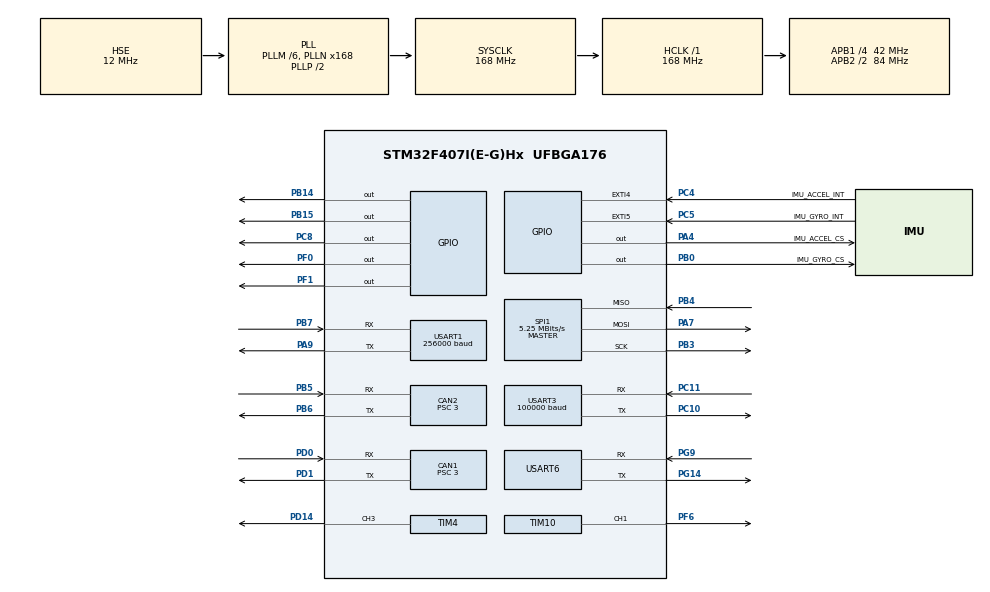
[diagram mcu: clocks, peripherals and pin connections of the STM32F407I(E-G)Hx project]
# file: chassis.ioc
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CAN1.BS1=CAN_BS1_6TQ
CAN1.BS2=CAN_BS2_7TQ
CAN1.CalculateBaudRate=1000000
CAN1.CalculateTimeBit=1000
CAN1.CalculateTimeQuantum=71.42857142857143
CAN1.NART=ENABLE
CAN1.Prescaler=3
CAN1.TXFP=ENABLE
CAN2.BS1=CAN_BS1_6TQ
CAN2.BS2=CAN_BS2_7TQ
CAN2.CalculateBaudRate=1000000
CAN2.CalculateTimeBit=1000
CAN2.CalculateTimeQuantum=71.42857142857143
CAN2.NART=ENABLE
CAN2.Prescaler=3
CAN2.RFLM=DISABLE
CAN2.TXFP=ENABLE
Dma.Request0=USART3_RX
Dma.Request1=USART6_RX
Dma.Request2=USART6_TX
Dma.Request3=USART1_TX
Dma.USART1_TX.3.Direction=DMA_MEMORY_TO_PERIPH
Dma.USART1_TX.3.FIFOMode=DMA_FIFOMODE_DISABLE
Dma.USART1_TX.3.Instance=DMA2_Stream7
Dma.USART1_TX.3.MemDataAlignment=DMA_MDATAALIGN_BYTE
Dma.USART1_TX.3.MemInc=DMA_MINC_ENABLE
Dma.USART1_TX.3.Mode=DMA_NORMAL
Dma.USART1_TX.3.PeriphDataAlignment=DMA_PDATAALIGN_BYTE
Dma.USART1_TX.3.PeriphInc=DMA_PINC_DISABLE
Dma.USART1_TX.3.Priority=DMA_PRIORITY_HIGH
Dma.USART3_RX.0.Direction=DMA_PERIPH_TO_MEMORY
Dma.USART3_RX.0.FIFOMode=DMA_FIFOMODE_DISABLE
Dma.USART3_RX.0.Instance=DMA1_Stream1
Dma.USART3_RX.0.MemDataAlignment=DMA_MDATAALIGN_BYTE
Dma.USART3_RX.0.MemInc=DMA_MINC_ENABLE
Dma.USART3_RX.0.Mode=DMA_CIRCULAR
Dma.USART3_RX.0.PeriphDataAlignment=DMA_PDATAALIGN_BYTE
Dma.USART3_RX.0.PeriphInc=DMA_PINC_DISABLE
Dma.USART3_RX.0.Priority=DMA_PRIORITY_VERY_HIGH
Dma.USART6_RX.1.Direction=DMA_PERIPH_TO_MEMORY
Dma.USART6_RX.1.FIFOMode=DMA_FIFOMODE_DISABLE
Dma.USART6_RX.1.Instance=DMA2_Stream1
Dma.USART6_RX.1.MemDataAlignment=DMA_MDATAALIGN_BYTE
Dma.USART6_RX.1.MemInc=DMA_MINC_ENABLE
Dma.USART6_RX.1.Mode=DMA_NORMAL
Dma.USART6_RX.1.PeriphDataAlignment=DMA_PDATAALIGN_BYTE
Dma.USART6_RX.1.PeriphInc=DMA_PINC_DISABLE
Dma.USART6_RX.1.Priority=DMA_PRIORITY_VERY_HIGH
Dma.USART6_TX.2.Direction=DMA_MEMORY_TO_PERIPH
Dma.USART6_TX.2.FIFOMode=DMA_FIFOMODE_DISABLE
Dma.USART6_TX.2.Instance=DMA2_Stream6
Dma.USART6_TX.2.MemDataAlignment=DMA_MDATAALIGN_BYTE
Dma.USART6_TX.2.MemInc=DMA_MINC_ENABLE
Dma.USART6_TX.2.Mode=DMA_NORMAL
Dma.USART6_TX.2.PeriphDataAlignment=DMA_PDATAALIGN_BYTE
Dma.USART6_TX.2.PeriphInc=DMA_PINC_DISABLE
Dma.USART6_TX.2.Priority=DMA_PRIORITY_VERY_HIGH
IWDG.Prescaler=IWDG_PRESCALER_64
IWDG.Reload=400
Mcu.Family=STM32F4
Mcu.Name=STM32F407I(E-G)Hx
Mcu.Package=UFBGA176
NVIC.CAN1_RX0_IRQn=true\:1\:0\:true\:false\:true\:true\:true\:true
NVIC.CAN2_RX1_IRQn=true\:1\:0\:true\:false\:true\:true\:true\:true
NVIC.DMA1_Stream1_IRQn=true\:0\:0\:false\:false\:true\:false\:true\:true
NVIC.DMA2_Stream1_IRQn=true\:0\:0\:false\:false\:true\:false\:true\:true
NVIC.DMA2_Stream6_IRQn=true\:0\:0\:false\:false\:true\:false\:true\:true
NVIC.DMA2_Stream7_IRQn=true\:0\:0\:false\:false\:true\:false\:true\:true
NVIC.PriorityGroup=NVIC_PRIORITYGROUP_4
NVIC.TIM6_DAC_IRQn=true\:2\:0\:true\:false\:true\:true\:true\:true
NVIC.USART3_IRQn=true\:0\:0\:false\:false\:true\:true\:true\:true
NVIC.USART6_IRQn=true\:0\:0\:false\:false\:true\:true\:true\:true
PA13.Mode=Serial_Wire
PA13.Signal=SYS_JTMS-SWDIO
PA14.Mode=Serial_Wire
PA14.Signal=SYS_JTCK-SWCLK
PA4.GPIO_Label=IMU_ACCEL_CS
PA4.GPIO_Speed=GPIO_SPEED_FREQ_VERY_HIGH
PA4.PinState=GPIO_PIN_SET
PA4.Signal=GPIO_Output
PA7.Mode=Full_Duplex_Master
PA7.Signal=SPI1_MOSI
PA9.Mode=Asynchronous
PA9.Signal=USART1_TX
PB0.GPIO_Label=IMU_GYRO_CS
PB0.GPIO_Speed=GPIO_SPEED_FREQ_VERY_HIGH
PB0.PinState=GPIO_PIN_SET
PB0.Signal=GPIO_Output
PB14.GPIO_Speed=GPIO_SPEED_FREQ_VERY_HIGH
PB14.PinState=GPIO_PIN_SET
PB14.Signal=GPIO_Output
PB15.GPIO_Speed=GPIO_SPEED_FREQ_VERY_HIGH
PB15.PinState=GPIO_PIN_SET
PB15.Signal=GPIO_Output
PB3.Mode=Full_Duplex_Master
PB3.Signal=SPI1_SCK
PB4.Mode=Full_Duplex_Master
PB4.Signal=SPI1_MISO
PB5.Mode=CAN_Activate
PB5.Signal=CAN2_RX
PB6.Mode=CAN_Activate
PB6.Signal=CAN2_TX
PB7.Mode=Asynchronous
PB7.Signal=USART1_RX
PC10.Mode=Asynchronous
PC10.Signal=USART3_TX
PC11.Mode=Asynchronous
PC11.Signal=USART3_RX
PC8.PinState=GPIO_PIN_RESET
PC8.Signal=GPIO_Output
PD0.Mode=CAN_Activate
PD0.Signal=CAN1_RX
PD1.Mode=CAN_Activate
PD1.Signal=CAN1_TX
PD14.Signal=S_TIM4_CH3
PF0.GPIO_Speed=GPIO_SPEED_FREQ_VERY_HIGH
PF0.PinState=GPIO_PIN_SET
PF0.Signal=GPIO_Output
PF1.GPIO_Speed=GPIO_SPEED_FREQ_VERY_HIGH
PF1.PinState=GPIO_PIN_SET
PF1.Signal=GPIO_Output
PF6.Signal=S_TIM10_CH1
PG14.Mode=Asynchronous
PG14.Signal=USART6_TX
PG9.Mode=Asynchronous
PG9.Signal=USART6_RX
PH0-OSC_IN.Mode=HSE-External-Oscillator
PH0-OSC_IN.Signal=RCC_OSC_IN
PH1-OSC_OUT.Mode=HSE-External-Oscillator
PH1-OSC_OUT.Signal=RCC_OSC_OUT
ProjectManager.HeapSize=0x200
ProjectManager.StackSize=0x400
ProjectManager.TargetToolchain=CMake
RCC.48MHZClocksFreq_Value=84000000
RCC.AHBFreq_Value=168000000
RCC.APB1CLKDivider=RCC_HCLK_DIV4
RCC.APB1Freq_Value=42000000
RCC.APB1TimFreq_Value=84000000
RCC.APB2CLKDivider=RCC_HCLK_DIV2
RCC.APB2Freq_Value=84000000
RCC.APB2TimFreq_Value=168000000
RCC.CortexFreq_Value=168000000
RCC.HCLKFreq_Value=168000000
RCC.HSE_VALUE=12000000
RCC.HSI_VALUE=16000000
RCC.LSE_VALUE=32768
RCC.PLLM=6
RCC.PLLN=168
RCC.PLLSourceVirtual=RCC_PLLSOURCE_HSE
RCC.SYSCLKFreq_VALUE=168000000
RCC.SYSCLKSource=RCC_SYSCLKSOURCE_PLLCLK
RCC.VCOOutputFreq_Value=336000000
SH.S_TIM10_CH1.0=TIM10_CH1,PWM Generation1 CH1
SH.S_TIM4_CH3.0=TIM4_CH3,PWM Generation3 CH3
SPI1.BaudRatePrescaler=SPI_BAUDRATEPRESCALER_16
SPI1.CLKPhase=SPI_PHASE_2EDGE
SPI1.CLKPolarity=SPI_POLARITY_HIGH
SPI1.CalculateBaudRate=5.25 MBits/s
SPI1.Direction=SPI_DIRECTION_2LINES
SPI1.Mode=SPI_MODE_MASTER
SPI1.VirtualType=VM_MASTER
TIM10.Channel=TIM_CHANNEL_1
TIM10.Prescaler=167
TIM10.Period=999
TIM4.Channel-PWM\ Generation3\ CH3=TIM_CHANNEL_3
TIM4.Period=0
TIM4.Prescaler=84-1
TIM6.Period=1000-1
TIM6.Prescaler=84-1
USART1.BaudRate=256000
USART1.VirtualMode=VM_ASYNC
USART3.BaudRate=100000
USART3.Mode=MODE_RX
USART3.Parity=PARITY_EVEN
USART3.VirtualMode=VM_ASYNC
USART3.WordLength=WORDLENGTH_9B
USART6.VirtualMode=VM_ASYNC
VP_IWDG_VS_IWDG.Mode=IWDG_Activate
VP_TIM10_VS_ClockSourceINT.Mode=Enable_Timer
VP_TIM4_VS_ClockSourceINT.Mode=Internal
VP_TIM6_VS_ClockSourceINT.Mode=Enable_Timer
board=custom
PC4.GPIO_Label=IMU_ACCEL_INT
PC4.GPIO_ModeDefaultEXTI=GPIO_MODE_IT_RISING
PC4.Signal=GPXTI4
PC5.GPIO_Label=IMU_GYRO_INT
PC5.GPIO_ModeDefaultEXTI=GPIO_MODE_IT_RISING
PC5.Signal=GPXTI5
NVIC.EXTI4_IRQn=true\:3\:0\:true\:false\:true\:true\:true\:true
NVIC.EXTI9_5_IRQn=true\:3\:0\:true\:false\:true\:true\:true\:true

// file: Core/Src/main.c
/* USER CODE BEGIN Header */
/**
  ******************************************************************************
  * @file           : main.c
  * @brief          : Main program body
  ******************************************************************************
  * @attention
  *
  * Copyright (c) 2026 STMicroelectronics.
  * All rights reserved.
  *
  * This software is licensed under terms that can be found in the LICENSE file
  * in the root directory of this software component.
  * If no LICENSE file comes with this software, it is provided AS-IS.
  *
  ******************************************************************************
  */
/* USER CODE END Header */
#include "main.h"
#include "can.h"
#include "dma.h"
#include "iwdg.h"
#include "spi.h"
#include "tim.h"
#include "usart.h"
#include "gpio.h"

/* USER CODE BEGIN Includes */
#include "board_link.h"
#include "board_link_setup.h"
#include "motion_math.h"
#include "command.h"
#include "chassis_control.h"
#include "chassis_setup.h"
#include "safety_gate.h"
#include "m3508_can.h"
#include "dr16.h"
#include "bmi088.h"
#include <math.h>
#include <string.h>
/* USER CODE END Includes */

/* USER CODE BEGIN PV */
volatile HAL_StatusTypeDef board_link_tx_status = HAL_ERROR;
static uint8_t board_link_sequence;
/* Gimbal status receiver (0x310..0x312). Last value is visible in the debugger. */
static LinkReceiver status_rx;
volatile bool board_link_rx_configured;
volatile uint32_t board_status_count;
volatile float board_relative_yaw;
static float board_yaw_last;
static bool board_yaw_initialized;
/* Visible in the debugger. HAL_OK only means the frame was queued. */
volatile HAL_StatusTypeDef motor_can_tx_status = HAL_OK;
volatile HAL_StatusTypeDef remote_rx_status = HAL_OK;
volatile bool remote_online = false;
DR16_State remote_state;
/* Debugger snapshot. arm is the operator's request, not motor enable. */
volatile RobotCommand remote_command = {.estop = true};
volatile bool chassis_configured;
volatile SafetyState chassis_safety_state;
volatile uint8_t chassis_wheel_fresh_mask;
volatile ChassisOutput chassis_output;
static ChassisControl chassis_control;
static SafetyGate chassis_gate;
volatile uint32_t rr_direct_request;
volatile bool rr_direct_active;
volatile int16_t rr_direct_peak_rpm;
volatile uint32_t rr_direct_pulse_count;
#if CHASSIS_RR_BENCH
static PID_Controller rr_bench_pid;
volatile float rr_bench_kp = 2.0f;
volatile float rr_bench_ki = 0.0f;
volatile float rr_bench_kd = 0.0f;
volatile float rr_bench_measured_rpm;
volatile bool rr_bench_gains_valid;
#endif
static const RemoteMap remote_map = {
  .channel = {3, 2, 0, 1},
  .direction = {1, -1, -1, 1},
  .deadzone = 0.05f,
  .separate_switch = DR16_SWITCH_UP,
  .follow_switch = DR16_SWITCH_MIDDLE,
  .spin_switch = DR16_SWITCH_DOWN,
  .enable_switch = DR16_SWITCH_UP,
  .disarm_switch = DR16_SWITCH_MIDDLE,
  .stop_switch = DR16_SWITCH_DOWN
};
volatile HAL_StatusTypeDef imu_init_status = HAL_ERROR;
volatile bool imu_online = false;
BMI088_Sample imu_sample;
BMI088_GyroCalibration imu_calibration;
/* USER CODE END PV */

void SystemClock_Config(void);

/* USER CODE BEGIN 0 */
/* CAN1 is the board link: this board transmits commands 0x300..0x302 and
 * receives gimbal status 0x310..0x312 on FIFO0. */
static HAL_StatusTypeDef StartBoardLink(void)
{
  const CAN_FilterTypeDef status_filter = {
    .FilterBank = 0,
    .FilterMode = CAN_FILTERMODE_IDLIST,
    .FilterScale = CAN_FILTERSCALE_16BIT,
    .FilterIdHigh = 0x310U << 5,
    .FilterIdLow = 0x311U << 5,
    .FilterMaskIdHigh = 0x312U << 5,
    .FilterMaskIdLow = 0x312U << 5,
    .FilterFIFOAssignment = CAN_FILTER_FIFO0,
    .FilterActivation = ENABLE,
    .SlaveStartFilterBank = 14
  };
  HAL_StatusTypeDef status = HAL_CAN_ConfigFilter(&hcan1, &status_filter);
  if (status != HAL_OK) return status;
  status = HAL_CAN_Start(&hcan1);
  if (status != HAL_OK) return status;
  status = HAL_CAN_ActivateNotification(&hcan1, CAN_IT_RX_FIFO0_MSG_PENDING);
  if (status != HAL_OK) (void)HAL_CAN_Stop(&hcan1);
  return status;
}

static bool BoardStatus(uint32_t now, LinkStatus *out)
{
  if (!out) return false;
  const uint32_t primask = __get_PRIMASK();
  __disable_irq();
  const bool fresh = Link_IsFresh(&status_rx, now);
  if (fresh) *out = status_rx.message.status;
  __set_PRIMASK(primask);
  return fresh;
}

/* Joint angle from the gimbal, in the chassis frame. Rejects uncalibrated,
 * faulted and non-finite values, plus steps no physical yaw move can make. */
static bool BoardYaw(const LinkStatus *status, float *relative_yaw)
{
  if (!status || !relative_yaw || !status->calibrated || status->fault ||
      !isfinite(status->yaw_joint)) return false;
  const float yaw = status->yaw_joint;
  if (board_yaw_initialized &&
      fabsf(Motion_Wrap(yaw - board_yaw_last)) > CHASSIS_YAW_JUMP_RAD) {
    board_yaw_initialized = false;
    return false;
  }
  board_yaw_last = yaw;
  board_yaw_initialized = true;
  *relative_yaw = yaw;
  return true;
}

static void SendBoardCommand(const RobotCommand *command)
{
  LinkFrame frames[3];
  /* CAN1 belongs to this sender. Drop/abort a stale batch instead of queuing
   * old control commands behind a disconnected bus. */
  if (HAL_CAN_GetTxMailboxesFreeLevel(&hcan1) != 3U) {
    (void)HAL_CAN_AbortTxRequest(&hcan1, CAN_TX_MAILBOX0 | CAN_TX_MAILBOX1 | CAN_TX_MAILBOX2);
    board_link_tx_status = HAL_BUSY;
    return;
  }
  if (!Link_EncodeCommand(command, board_link_sequence++, frames)) return;
  for (unsigned i = 0; i < 3; ++i) {
    CAN_TxHeaderTypeDef header = {.StdId = frames[i].id, .IDE = CAN_ID_STD,
                                .RTR = CAN_RTR_DATA, .DLC = 8};
    uint32_t mailbox;
    board_link_tx_status = HAL_CAN_AddTxMessage(&hcan1, &header, frames[i].data, &mailbox);
    if (board_link_tx_status != HAL_OK) {
      (void)HAL_CAN_AbortTxRequest(&hcan1, CAN_TX_MAILBOX0 | CAN_TX_MAILBOX1 | CAN_TX_MAILBOX2);
      break;
    }
  }
}

static bool InitChassisControl(void)
{
  ChassisConfig config = {
    .geometry = MECANUM_DEFAULT_CONFIG,
    .max_translation = CHASSIS_TRANSLATION_LIMIT_MPS,
    .max_rotation = CHASSIS_MAX_ROTATION_RAD_S,
    .spin_rate = CHASSIS_SPIN_RATE_RAD_S, .follow_kp = CHASSIS_FOLLOW_KP,
    .spin_max_motor_rpm = CHASSIS_SPIN_MAX_ROTOR_RPM,
    .translation_accel = CHASSIS_TRANSLATION_ACCEL_MPS2,
    .rotation_accel = 1.0f,
    .follow_rotation_accel = CHASSIS_FOLLOW_ROTATION_ACCEL_RAD_S2,
    .max_dt = 0.025f
  };
  const int8_t direction[M3508_COUNT] = CHASSIS_WHEEL_DIRECTIONS;
  config.geometry.max_motor_rpm = CHASSIS_MAX_ROTOR_RPM;
  for (unsigned i = 0; i < M3508_COUNT; ++i)
  {
    config.geometry.motor_direction[i] = direction[i];
    config.wheel_pid[i] = (PID_Config){
      .kp = CHASSIS_SPEED_KP, .ki = CHASSIS_SPEED_KI,
      .output_limit = CHASSIS_CURRENT_LIMIT_RAW,
      .integral_limit = CHASSIS_SPEED_INTEGRAL_LIMIT_RAW,
      .max_dt = config.max_dt
    };
  }
  return CHASSIS_SPEED_KP > 0.0f && Chassis_Init(&chassis_control, &config);
}

static void ServiceRightRearPulse(bool fresh, float rpm)
{
  enum { pulse_ms = 300, pulse_current = -410 };
  static uint32_t started_ms;
  const uint32_t now = HAL_GetTick();
  const bool debugger_attached = (CoreDebug->DHCSR & CoreDebug_DHCSR_C_DEBUGEN_Msk) != 0U;
  const uint32_t request = rr_direct_request;
  if (request != 0U)
  {
    rr_direct_request = 0U;
    if (request == 1U && !rr_direct_active && fresh && debugger_attached &&
        rpm >= -5.0f && rpm <= 5.0f)
    {
      started_ms = now;
      rr_direct_peak_rpm = 0;
      rr_direct_active = true;
      ++rr_direct_pulse_count;
    }
  }
  const bool was_active = rr_direct_active;
  if (!fresh || !debugger_attached || request == 2U || now - started_ms >= pulse_ms)
    rr_direct_active = false;
  if (rr_direct_active)
  {
    const int16_t peak = rr_direct_peak_rpm;
    const int16_t sample = (int16_t)rpm;
    if ((int32_t)sample * sample > (int32_t)peak * peak)
      rr_direct_peak_rpm = sample;
  }

  ChassisOutput output = {0};
  if (rr_direct_active)
    output.current[MECANUM_RR] = pulse_current;
  if (was_active && !rr_direct_active)
    (void)HAL_CAN_AbortTxRequest(&hcan2, CAN_TX_MAILBOX0 | CAN_TX_MAILBOX1 | CAN_TX_MAILBOX2);
  motor_can_tx_status = M3508_CAN_SendCurrents(output.current);
  if (rr_direct_active && motor_can_tx_status != HAL_OK)
  {
    rr_direct_active = false;
    output.current[MECANUM_RR] = 0;
    (void)HAL_CAN_AbortTxRequest(&hcan2, CAN_TX_MAILBOX0 | CAN_TX_MAILBOX1 | CAN_TX_MAILBOX2);
    (void)M3508_CAN_SendCurrents(output.current);
  }
  chassis_output = output;
  chassis_safety_state = rr_direct_active ? SAFETY_ACTIVE : SAFETY_DISARMED;
  (void)HAL_IWDG_Refresh(&hiwdg);
}

static void ServiceChassisDrive(const RobotCommand *command, float dt)
{
  float rpm[M3508_COUNT] = {0};
  bool fresh[M3508_COUNT] = {false};
  uint8_t mask = 0;
  for (unsigned i = 0; i < M3508_COUNT; ++i)
  {
    M3508_Feedback wheel;
    if (M3508_CAN_GetFeedback((uint8_t)(i + 1), &wheel))
    {
      rpm[i] = wheel.speed_rpm;
      fresh[i] = (uint32_t)(HAL_GetTick() - wheel.last_rx_ms) < 50U;
      if (fresh[i]) mask |= (uint8_t)(1U << i);
    }
  }
  chassis_wheel_fresh_mask = mask;
  if (CHASSIS_RR_DIRECT_TEST)
  {
    ServiceRightRearPulse(fresh[MECANUM_RR], rpm[MECANUM_RR]);
    return;
  }
#if CHASSIS_RR_BENCH
  enum { rr = MECANUM_RR };
  rr_bench_measured_rpm = rpm[rr];
  /* Apply debugger edits only on a valid, neutral standby command. */
  if (command->remote_valid && !command->arm && !command->estop &&
      Command_Neutral(command, 0.02f))
  {
    const PID_Config gains = {
      .kp = rr_bench_kp, .ki = rr_bench_ki, .kd = rr_bench_kd,
      .output_limit = CHASSIS_RR_BENCH_CURRENT_RAW, .integral_limit = 100.0f,
      .derivative_tau = 0.04f, .max_dt = 0.025f
    };
    rr_bench_gains_valid = PID_Init(&rr_bench_pid, &gains);
  }
#endif
  /* Relative yaw comes from the gimbal status frame. Follow additionally
   * needs a world-stabilized gimbal yaw; with joint-only yaw control the
   * chassis would rotate until max_rotation and never converge. */
  const uint32_t now = HAL_GetTick();
  if (chassis_gate.state != SAFETY_ACTIVE) board_yaw_initialized = false;
  LinkStatus status;
  const bool status_ok = BoardStatus(now, &status);
  float relative_yaw = 0.0f;
  const bool yaw_ok = status_ok && BoardYaw(&status, &relative_yaw);
  board_relative_yaw = yaw_ok ? relative_yaw : 0.0f;
  SafetyInputs safety = {
    .link_fresh = command->remote_valid,
    /* Every mode needs calibrated relative yaw for gimbal-frame translation.
     * The upper board reports a fault if follow/spin world feedback is unavailable. */
    .sensors_fresh = status_ok && yaw_ok,
    .motors_healthy =
#if CHASSIS_RR_BENCH
      fresh[rr],
#else
      mask == (1U << M3508_COUNT) - 1U,
#endif
    .calibrated = true,
    .hardware_configured =
#if CHASSIS_RR_BENCH
      rr_bench_gains_valid
#else
      chassis_configured
#endif
  };
  const bool was_active = chassis_gate.state == SAFETY_ACTIVE;
  const bool allowed = Safety_Step(&chassis_gate, command, &safety);
#if CHASSIS_RR_BENCH
  ChassisOutput output = {0};
  if (allowed && command->forward != 0.0f)
  {
    const int8_t direction[M3508_COUNT] = CHASSIS_WHEEL_DIRECTIONS;
    const float target = direction[rr] * command->forward * CHASSIS_RR_BENCH_RPM;
    float current;
    if (PID_Update(&rr_bench_pid, target, rpm[rr], dt, &current))
    {
      output.wheels.motor_rpm[rr] = target;
      output.current[rr] = (int16_t)current;
    }
    else
      chassis_gate = (SafetyGate){.state = SAFETY_FAULT};
  }
  else
    PID_Reset(&rr_bench_pid);
#else
  ChassisOutput output;
  if (command->forward == 0.0f && command->left == 0.0f)
  {
    chassis_control.previous.vx = 0.0f;
    chassis_control.previous.vy = 0.0f;
  }
  if (!Chassis_Step(&chassis_control, command, yaw_ok ? relative_yaw : 0.0f,
                    rpm, fresh, allowed, dt, &output) && allowed)
    chassis_gate = (SafetyGate){.state = SAFETY_FAULT};
#endif

  bool cancel_pending = was_active && chassis_gate.state != SAFETY_ACTIVE;
#if CHASSIS_RR_BENCH
  cancel_pending |= command->forward == 0.0f && chassis_output.current[rr] != 0;
#endif
  if (cancel_pending)
    (void)HAL_CAN_AbortTxRequest(&hcan2, CAN_TX_MAILBOX0 | CAN_TX_MAILBOX1 | CAN_TX_MAILBOX2);
  motor_can_tx_status = M3508_CAN_SendCurrents(output.current);
  if (chassis_gate.state == SAFETY_ACTIVE && motor_can_tx_status != HAL_OK)
  {
    chassis_gate = (SafetyGate){.state = SAFETY_FAULT};
    Chassis_Reset(&chassis_control);
#if CHASSIS_RR_BENCH
    PID_Reset(&rr_bench_pid);
#endif
    (void)HAL_CAN_AbortTxRequest(&hcan2, CAN_TX_MAILBOX0 | CAN_TX_MAILBOX1 | CAN_TX_MAILBOX2);
    output = (ChassisOutput){0};
    (void)M3508_CAN_SendCurrents(output.current);
  }
  chassis_output = output;
  chassis_safety_state = chassis_gate.state;
}

/* USER CODE END 0 */

int main(void)
{

  /* MCU Configuration--------------------------------------------------------*/

  /* Reset of all peripherals, Initializes the Flash interface and the Systick. */
  HAL_Init();

  /* Configure the system clock */
  SystemClock_Config();

  /* Initialize all configured peripherals */
  MX_GPIO_Init();
  MX_DMA_Init();
  MX_CAN1_Init();
  board_link_rx_configured = Link_Init(&status_rx, LINK_STATUS,
                                       BOARD_LINK_ASSEMBLY_MS, BOARD_LINK_FRESH_MS);
  board_link_tx_status = StartBoardLink();
  MX_TIM6_Init();
  MX_SPI1_Init();
  MX_TIM4_Init();
  MX_USART3_UART_Init();
  MX_IWDG_Init();
  MX_CAN2_Init();
  MX_TIM10_Init();
  MX_USART6_UART_Init();
  MX_USART1_UART_Init();
  /* USER CODE BEGIN 2 */
  /* Let the IWDG count only while the core runs: halted at a breakpoint it
   * would otherwise reset the board after ~802 ms, which makes single-step
   * debugging impossible. Has no effect when no debugger is attached. */
  __HAL_DBGMCU_FREEZE_IWDG();
  if (M3508_CAN_Init(&hcan2) != HAL_OK)
  {
    Error_Handler();
  }
  chassis_configured = InitChassisControl();
  if (chassis_configured || CHASSIS_RR_BENCH || CHASSIS_RR_DIRECT_TEST)
    __HAL_DBGMCU_UNFREEZE_IWDG();
  if (DR16_Init(&huart3) != HAL_OK)
  {
    Error_Handler();
  }
  /* The IMU is not fatal at boot: a missing or miswired chip must not stop the
   * chassis from being tested, so the loop retries instead of Error_Handler. */
  imu_init_status = BMI088_Init(&hspi1);
  uint32_t last_imu_init_ms = HAL_GetTick();
  uint32_t last_motor_tx_ms = last_imu_init_ms;
  /* USER CODE END 2 */

  /* Infinite loop */
  while (1)
  {

    /* USER CODE BEGIN 3 */
    remote_rx_status = DR16_Service();
    const uint32_t now = HAL_GetTick();
    if (!CHASSIS_RR_DIRECT_TEST && !CHASSIS_RR_BENCH && !chassis_configured && imu_init_status != HAL_OK &&
        (uint32_t)(now - last_imu_init_ms) >= 1000U)
    {
      last_imu_init_ms = now;
      imu_init_status = BMI088_Init(&hspi1);
    }
    if (imu_init_status == HAL_OK)
    {
      (void)BMI088_Service();
      imu_online = BMI088_GetSample(&imu_sample);
      BMI088_GetGyroCalibration(&imu_calibration);
    }
    const uint32_t drive_now = HAL_GetTick();
    const uint32_t elapsed = drive_now - last_motor_tx_ms;
    if (elapsed >= 10U)
    {
      last_motor_tx_ms = drive_now;
      remote_online = DR16_GetState(&remote_state);
      const RemoteInput input = {
        .channel = {remote_state.channel[0], remote_state.channel[1],
                    remote_state.channel[2], remote_state.channel[3],
                    remote_state.channel[4]},
        .mode_switch = remote_state.s1,
        .arm_switch = remote_state.s2,
        .fresh = remote_online
      };
      RobotCommand command;
      (void)Remote_Map(&remote_map, &input, &command);
      remote_command = command;
      SendBoardCommand(&command);
      ServiceChassisDrive(&command, (float)elapsed * 0.001f);
    }
  }
  /* USER CODE END 3 */
}

void SystemClock_Config(void)
{
  RCC_OscInitTypeDef RCC_OscInitStruct = {0};
  RCC_ClkInitTypeDef RCC_ClkInitStruct = {0};

  /** Configure the main internal regulator output voltage
  */
  __HAL_RCC_PWR_CLK_ENABLE();
  __HAL_PWR_VOLTAGESCALING_CONFIG(PWR_REGULATOR_VOLTAGE_SCALE1);

  /** Initializes the RCC Oscillators according to the specified parameters
  * in the RCC_OscInitTypeDef structure.
  */
  RCC_OscInitStruct.OscillatorType = RCC_OSCILLATORTYPE_LSI|RCC_OSCILLATORTYPE_HSE;
  RCC_OscInitStruct.HSEState = RCC_HSE_ON;
  RCC_OscInitStruct.LSIState = RCC_LSI_ON;
  RCC_OscInitStruct.PLL.PLLState = RCC_PLL_ON;
  RCC_OscInitStruct.PLL.PLLSource = RCC_PLLSOURCE_HSE;
  RCC_OscInitStruct.PLL.PLLM = 6;
  RCC_OscInitStruct.PLL.PLLN = 168;
  RCC_OscInitStruct.PLL.PLLP = RCC_PLLP_DIV2;
  RCC_OscInitStruct.PLL.PLLQ = 4;
  if (HAL_RCC_OscConfig(&RCC_OscInitStruct) != HAL_OK)
  {
    Error_Handler();
  }

  /** Initializes the CPU, AHB and APB buses clocks
  */
  RCC_ClkInitStruct.ClockType = RCC_CLOCKTYPE_HCLK|RCC_CLOCKTYPE_SYSCLK
                              |RCC_CLOCKTYPE_PCLK1|RCC_CLOCKTYPE_PCLK2;
  RCC_ClkInitStruct.SYSCLKSource = RCC_SYSCLKSOURCE_PLLCLK;
  RCC_ClkInitStruct.AHBCLKDivider = RCC_SYSCLK_DIV1;
  RCC_ClkInitStruct.APB1CLKDivider = RCC_HCLK_DIV4;
  RCC_ClkInitStruct.APB2CLKDivider = RCC_HCLK_DIV2;

  if (HAL_RCC_ClockConfig(&RCC_ClkInitStruct, FLASH_LATENCY_5) != HAL_OK)
  {
    Error_Handler();
  }
}

/* USER CODE BEGIN 4 */
void HAL_UARTEx_RxEventCallback(UART_HandleTypeDef *huart, uint16_t Size)
{
  if (DR16_RxEventCallback(huart, Size))
  {
    /* Only a newly decoded, valid remote frame can refresh the watchdog. */
    (void)HAL_IWDG_Refresh(&hiwdg);
  }
}

void HAL_UART_ErrorCallback(UART_HandleTypeDef *huart)
{
  DR16_ErrorCallback(huart);
}

void HAL_CAN_RxFifo0MsgPendingCallback(CAN_HandleTypeDef *hcan)
{
  if (hcan != &hcan1) return;
  while (HAL_CAN_GetRxFifoFillLevel(hcan, CAN_RX_FIFO0) != 0U)
  {
    CAN_RxHeaderTypeDef header;
    uint8_t data[8];
    if (HAL_CAN_GetRxMessage(hcan, CAN_RX_FIFO0, &header, data) != HAL_OK) break;
    if (header.IDE != CAN_ID_STD || header.RTR != CAN_RTR_DATA ||
        header.DLC != 8U || header.StdId < 0x310U || header.StdId > 0x312U) continue;
    LinkFrame frame = {.id = (uint16_t)header.StdId, .dlc = 8};
    memcpy(frame.data, data, 8);
    /* Status never feeds the IWDG; only a valid DR16 frame does that. */
    if (Link_Receive(&status_rx, &frame, HAL_GetTick())) ++board_status_count;
  }
}

void HAL_CAN_RxFifo1MsgPendingCallback(CAN_HandleTypeDef *hcan)
{
  M3508_CAN_RxFifo1Callback(hcan);
}

void HAL_GPIO_EXTI_Callback(uint16_t GPIO_Pin)
{
  /* Data-ready only sets a flag; the SPI read happens in the main loop. */
  BMI088_ExtiCallback(GPIO_Pin);
}
/* USER CODE END 4 */

void Error_Handler(void)
{
  __disable_irq();
  while (1)
  {
  }
}
